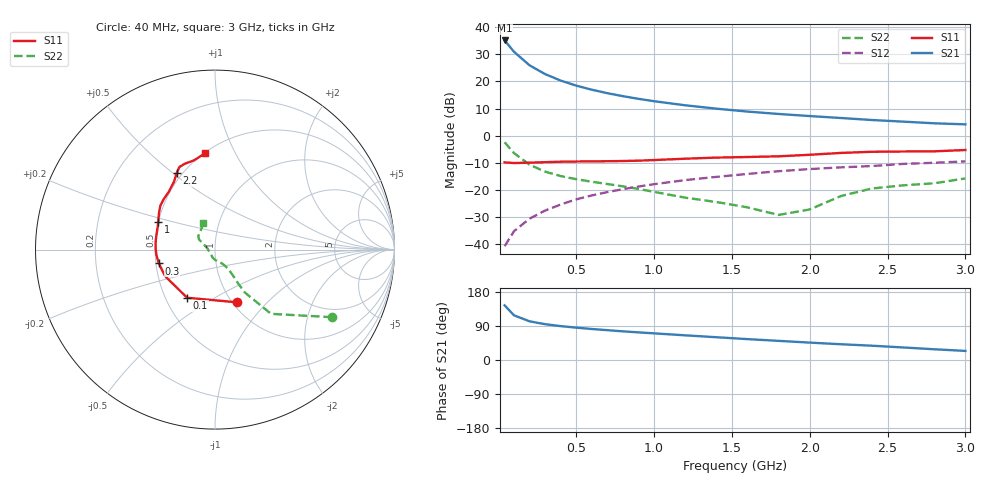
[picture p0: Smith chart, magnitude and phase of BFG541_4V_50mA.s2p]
! Filename:  BFG541F.S2P  Version:  3.0
! Philips part #: BFG541  Date: Feb 1992
! Bias condition: Vce=4V, Ic=50mA
#  MHz  S  MA  R  50
! Freq  S11  S21  S12  S22  !GUM [dB]
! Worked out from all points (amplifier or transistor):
!   21 points, 40 MHz to 3 GHz, reference 50 ohm
!   highest |S21| = 35.2 dB at 40 MHz (marker M1)
!   |S21| within 3 dB of that: start of sweep to 83.2 MHz
!   unconditionally stable (mu >= 1): 359.2 MHz to 2.881 GHz
!   at 300 MHz: K = 0.98, MSG = 25.2 dB, |S12| = -27.7 dB
!   at 1 GHz: K = 1.05, MAG = 14.0 dB, |S12| = -18.0 dB
!   at 3 GHz: K = 0.98, MSG = 6.8 dB, |S12| = -9.6 dB
!   S11 on the Smith chart (normalised r, x): 40 MHz: 1.05, -0.69; 100 MHz: 0.64, -0.38; 300 MHz: 0.52, -0.09; 1 GHz: 0.50, +0.18; 2.2 GHz: 0.47, +0.52; 3 GHz: 0.51, +0.77
40  0.319 -67.1  57.33 144.2  0.009 74.3  0.753 -30.0
100  0.31 -120.1  35.49 118.0  0.017 70.1  0.475 -48.9
200  0.315 -152.0  19.92 102.1  0.029 72.3  0.289 -55.3
300  0.322 -166.1  13.7 94.5  0.041 74.0  0.215 -55.7
400  0.328 -174.9  10.39 89.4  0.053 74.6  0.178 -55.2
500  0.331 178.7  8.379 85.4  0.066 74.5  0.156 -55.2
600  0.333 173.5  7.042 81.8  0.078 74.2  0.14 -55.6
700  0.335 168.5  6.073 78.7  0.09 73.4  0.127 -56.2
800  0.338 163.3  5.348 75.6  0.102 72.5  0.115 -57.0
900  0.343 158.5  4.777 72.9  0.114 71.6  0.103 -58.8
1000  0.352 153.9  4.312 70.3  0.126 70.6  0.091 -61.8
1200  0.373 146.7  3.628 65.1  0.15 68.1  0.071 -71.9
1400  0.391 141.1  3.143 60.1  0.172 65.5  0.059 -87.4
1600  0.401 135.3  2.775 55.1  0.195 63.4  0.047 -105.8
1800  0.413 128.3  2.507 50.5  0.219 60.0  0.034 -136.8
2000  0.441 121.3  2.293 45.9  0.24 57.6  0.043 171.2
2200  0.477 116.5  2.111 41.6  0.258 54.7  0.076 151.8
2400  0.501 113.4  1.937 37.7  0.273 53.1  0.105 148.0
2600  0.507 109.6  1.809 33.1  0.299 49.4  0.12 141.0
2800  0.511 103.1  1.684 28.3  0.314 45.2  0.131 127.8
3000  0.54 95.8  1.611 24.0  0.333 43.2  0.161 113.7
